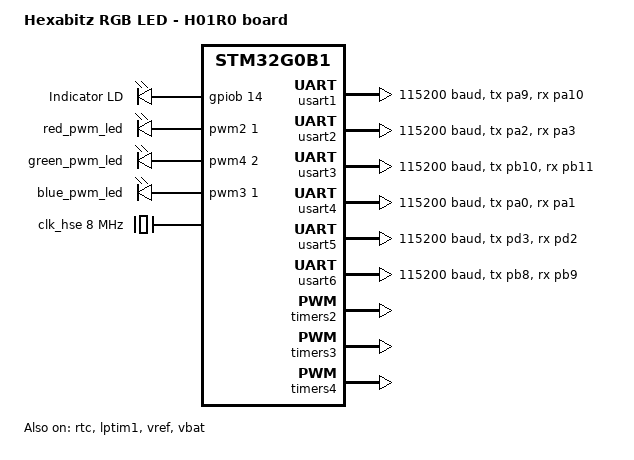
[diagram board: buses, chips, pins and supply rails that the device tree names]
/*
 * Copyright (c) 2025 Hexabitz
 * SPDX-License-Identifier: Apache-2.0
 */

/dts-v1/;
#include <st/g0/stm32g0b1Xe.dtsi>
#include <st/g0/stm32g0b1c(b-c-e)uxn-pinctrl.dtsi>
#include <zephyr/dt-bindings/input/input-event-codes.h>

/ {
	model = "Hexabitz RGB LED - H01R0 board";
	compatible = "Hexabitz,H01R0","st,stm32g0b1";
	// compatible = "st,stm32g0b1re-nucleo";

	chosen {
		zephyr,console = &usart2;
		zephyr,shell-uart = &usart2;
		zephyr,uart-mcumgr = &usart2;
		zephyr,sram = &sram0;
		zephyr,flash = &flash0;
		zephyr,code-partition = &slot0_partition;
		zephyr,canbus = &fdcan1;
	};

	/* creates an alias that Zephyr can find with DT_ALIAS() */
	aliases {
		module-led = &indicator_led;
		volt-sensor0 = &vref;
		volt-sensor1 = &vbat;

		red-pwm-led = &red_pwm_led;
		green-pwm-led = &green_pwm_led;
		blue-pwm-led = &blue_pwm_led;
	};

	bos {
		compatible = "hexabitz,bos";
		modulePN = <1>;
		number-ports = <6>;

		status = "okay";
	};

	leds {
		compatible = "gpio-leds";

		/* creates a node label (that you can reference in aliases) */
		indicator_led: led0 {
			gpios = <&gpiob 14 GPIO_ACTIVE_HIGH>;
			label = "Indicator LD";
		};
	};

	/* pwmleds Node: This node defines the configuration for PWM-controlled LEDs. */
	pwmleds {
		compatible = "pwm-leds";
		status = "okay";

		/* Sub-Node: */
		red_pwm_led: red_led {
			/* &pwm2: References the pwm2 controller node.
			 * 1: The PWM channel number.
			 * PWM_MSEC(20): The period of the PWM signal in milliseconds (20 ms in this case).
			 * PWM_POLARITY_NORMAL: Indicates the polarity of the PWM signal. */
			pwms = <&pwm2 1 PWM_MSEC(20) PWM_POLARITY_NORMAL>;
			status = "okay";
		};
		green_pwm_led: green_led {
			pwms = <&pwm4 2 PWM_MSEC(20) PWM_POLARITY_NORMAL>;
			status = "okay";
		};
		blue_pwm_led: blue_led {
			pwms = <&pwm3 1 PWM_MSEC(20) PWM_POLARITY_NORMAL>;
			status = "okay";
		};
	};
};

&clk_hsi {
	status = "okay";
};

&clk_hse {
	clock-frequency = <DT_FREQ_M(8)>;
	status = "okay";
};

&pll {
	div-m = <1>;
	mul-n = <16>;
	div-q = <2>;
	div-p = <2>;
	div-r = <2>;
	clocks = <&clk_hse>;
	status = "okay";
};

&rcc {
	clocks = <&pll>;
	clock-frequency = <DT_FREQ_M(64)>;
	ahb-prescaler = <1>;
	apb1-prescaler = <1>;
};

&dma1 {
	status = "okay";
};

&dmamux1 {
	status = "okay";
};

&usart1 {
	pinctrl-0 = <&usart1_tx_pa9 &usart1_rx_pa10>;
	pinctrl-names = "default";
	current-speed = <115200>;
	dmas = <&dmamux1 0 50 (STM32_DMA_PERIPH_RX | STM32_DMA_MEM_8BITS | STM32_DMA_MODE_CYCLIC)>;
	dma-names = "rx";
	status = "okay";
};

&usart2 {
	pinctrl-0 = <&usart2_tx_pa2 &usart2_rx_pa3>;
	pinctrl-names = "default";
	current-speed = <115200>;
	dmas = <&dmamux1 1 52 (STM32_DMA_PERIPH_RX | STM32_DMA_MEM_8BITS | STM32_DMA_MODE_CYCLIC)>;
	dma-names = "rx";
	status = "okay";
};

&usart3 {
	pinctrl-0 = <&usart3_tx_pb10 &usart3_rx_pb11>;
	pinctrl-names = "default";
	current-speed = <115200>;
	dmas = <&dmamux1 2 54 (STM32_DMA_PERIPH_RX | STM32_DMA_MEM_8BITS | STM32_DMA_MODE_CYCLIC)>;
	dma-names = "rx";
	status = "okay";
};

&usart4 {
	pinctrl-0 = <&usart4_tx_pa0 &usart4_rx_pa1>;
	pinctrl-names = "default";
	current-speed = <115200>;
	dmas = <&dmamux1 3 56 (STM32_DMA_PERIPH_RX | STM32_DMA_MEM_8BITS | STM32_DMA_MODE_CYCLIC)>;
	dma-names = "rx";
	status = "okay";
};

&usart5 {
	pinctrl-0 = <&usart5_tx_pd3 &usart5_rx_pd2>;
	pinctrl-names = "default";
	current-speed = <115200>;
	dmas = <&dmamux1 4 74 (STM32_DMA_PERIPH_RX | STM32_DMA_MEM_8BITS | STM32_DMA_MODE_CYCLIC)>;
	dma-names = "rx";
	status = "okay";
};

&usart6 {
	pinctrl-0 = <&usart6_tx_pb8 &usart6_rx_pb9>;
	pinctrl-names = "default";
	current-speed = <115200>;
	dmas = <&dmamux1 5 76 (STM32_DMA_PERIPH_RX | STM32_DMA_MEM_8BITS | STM32_DMA_MODE_CYCLIC)>;
	dma-names = "rx";
	status = "okay";
};

&rtc {
	clocks = <&rcc STM32_CLOCK_BUS_APB1 0x00000400>,
	         <&rcc STM32_SRC_LSI RTC_SEL(2)>;
	status = "okay";
};

/*
&i2c1 {
	pinctrl-0 = <&i2c1_scl_pb8 &i2c1_sda_pb9>;
	pinctrl-names = "default";
	status = "okay";
	clock-frequency = <I2C_BITRATE_FAST>;
};

&i2c2 {
	pinctrl-0 = <&i2c2_scl_pa11 &i2c2_sda_pa12>;
	pinctrl-names = "default";
	status = "okay";
	clock-frequency = <I2C_BITRATE_FAST>;
};

&spi1 {
	pinctrl-0 = <&spi1_nss_pb0 &spi1_sck_pa5
	&spi1_miso_pa6 &spi1_mosi_pa7>;
	pinctrl-names = "default";
	status = "okay";
};

&spi2 {
	pinctrl-0 = <&spi2_nss_pd0 &spi2_sck_pd1
	&spi2_miso_pd3 &spi2_mosi_pd4>;
	pinctrl-names = "default";
	status = "okay";
};

&adc1 {
	pinctrl-0 = <&adc1_in0_pa0 &adc1_in1_pa1>;
	pinctrl-names = "default";
	st,adc-clock-source = "SYNC";
	st,adc-prescaler = <4>;
	status = "okay";
};

&die_temp {
	status = "okay";
};

&dac1 {
	status = "okay";
	pinctrl-0 = <&dac1_out1_pa4>;
	pinctrl-names = "default";
};

&fdcan1 {
	clocks = <&rcc STM32_CLOCK_BUS_APB1 0x00001000>,
	         <&rcc STM32_SRC_PLL_Q FDCAN_SEL(1)>;
	pinctrl-0 = <&fdcan1_rx_pa11 &fdcan1_tx_pa12>;
	pinctrl-names = "default";
	status = "okay";
};

&fdcan2 {
	clocks = <&rcc STM32_CLOCK_BUS_APB1 0x00001000>,
	         <&rcc STM32_SRC_PLL_Q FDCAN_SEL(1)>;
	pinctrl-0 = <&fdcan2_rx_pb0 &fdcan2_tx_pb1>;
	pinctrl-names = "default";
	status = "okay";
};
 */
&flash0 {
	partitions {
		compatible = "fixed-partitions";
		#address-cells = <1>;
		#size-cells = <1>;

		boot_partition: partition@0 {
			label = "mcuboot";
			reg = <0x00000000 DT_SIZE_K(48)>;
			read-only;
		};

		slot0_partition: partition@C000 {
			label = "image-0";
			reg = <0x0000C000 DT_SIZE_K(200)>;
		};

		slot1_partition: partition@3E000 {
			label = "image-1";
			reg = <0x0003E000 DT_SIZE_K(200)>;
		};

		/* final 64KiB reserved for app storage partition */
		storage_partition: partition@70000 {
			label = "storage";
			reg = <0x00070000 DT_SIZE_K(64)>;
		};
	};
};

stm32_lp_tick_source: &lptim1 {
	clocks = <&rcc STM32_CLOCK_BUS_APB1 0x80000000>,
	         <&rcc STM32_SRC_LSI LPTIM1_SEL(1)>;
	status = "okay";
};

&vref {
	status = "okay";
};

&vbat {
	status = "okay";
};

/*************************************************************/
/****************** RGB Module Special nodes *****************/
/*************************************************************/
/*
Timer for RGB red - PA15    ------> TIM2_CH1
Timer for RGB blue - PA6    ------> TIM3_CH1
Timer for RGB green - PB7   ------> TIM4_CH2
 */
&timers2 {
	st,prescaler = <10000>;
	status = "okay";
	pwm2: pwm {
		status = "okay";
		pinctrl-0 = <&tim2_ch1_pa15>;
		pinctrl-names = "default";
	};
};

&timers3 {
	st,prescaler = <10000>;
	status = "okay";
	pwm3: pwm {
		status = "okay";
		pinctrl-0 = <&tim3_ch1_pa6>;
		pinctrl-names = "default";
	};
};

&timers4 {
	st,prescaler = <10000>;
	status = "okay";
	pwm4: pwm {
		status = "okay";
		pinctrl-0 = <&tim4_ch2_pb7>;
		pinctrl-names = "default";
	};
};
